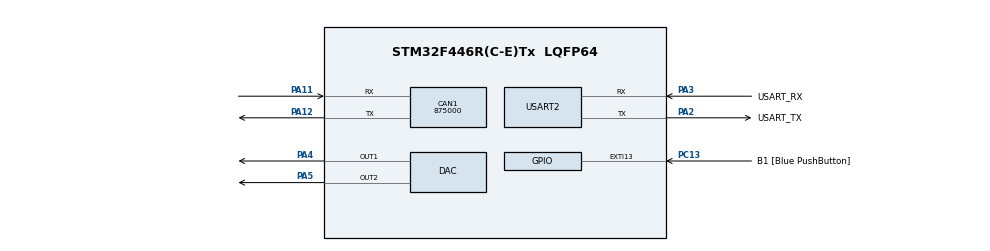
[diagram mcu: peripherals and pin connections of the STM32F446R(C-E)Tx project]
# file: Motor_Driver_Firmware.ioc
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CAN1.CalculateBaudRate=875000
CAN1.CalculateTimeBit=1142
CAN1.CalculateTimeQuantum=380.95238095238096
Mcu.Family=STM32F4
Mcu.Name=STM32F446R(C-E)Tx
Mcu.Package=LQFP64
NVIC.PriorityGroup=NVIC_PRIORITYGROUP_0
PA11.Mode=CAN_Activate
PA11.Signal=CAN1_RX
PA12.Mode=CAN_Activate
PA12.Signal=CAN1_TX
PA13.GPIO_Label=TMS
PA13.Mode=Serial_Wire
PA13.Signal=SYS_JTMS-SWDIO
PA14.GPIO_Label=TCK
PA14.Mode=Serial_Wire
PA14.Signal=SYS_JTCK-SWCLK
PA2.GPIO_Label=USART_TX
PA2.Mode=Asynchronous
PA2.Signal=USART2_TX
PA3.GPIO_Label=USART_RX
PA3.Mode=Asynchronous
PA3.Signal=USART2_RX
PA4.Signal=COMP_DAC1_group
PA5.Signal=COMP_DAC2_group
PB3.GPIO_Label=SWO
PB3.Signal=SYS_JTDO-SWO
PC13.GPIO_Label=B1 [Blue PushButton]
PC13.GPIO_ModeDefaultEXTI=GPIO_MODE_IT_FALLING
PC13.Signal=GPXTI13
PC14-OSC32_IN.Mode=LSE-External-Oscillator
PC14-OSC32_IN.Signal=RCC_OSC32_IN
PC15-OSC32_OUT.Mode=LSE-External-Oscillator
PC15-OSC32_OUT.Signal=RCC_OSC32_OUT
PH0-OSC_IN.Mode=HSE-External-Oscillator
PH0-OSC_IN.Signal=RCC_OSC_IN
PH1-OSC_OUT.Mode=HSE-External-Oscillator
PH1-OSC_OUT.Signal=RCC_OSC_OUT
ProjectManager.HeapSize=0x200
ProjectManager.StackSize=0x400
ProjectManager.TargetToolchain=STM32CubeIDE
RCC.48MHZClocksFreq_Value=84000000
RCC.AHBFreq_Value=84000000
RCC.APB1CLKDivider=RCC_HCLK_DIV2
RCC.APB1Freq_Value=42000000
RCC.APB1TimFreq_Value=84000000
RCC.APB2Freq_Value=84000000
RCC.APB2TimFreq_Value=84000000
RCC.CortexFreq_Value=84000000
RCC.FLatency-AdvancedSettings=FLASH_LATENCY_2
RCC.HCLKFreq_Value=84000000
RCC.HSE_VALUE=8000000
RCC.HSI_VALUE=16000000
RCC.PLLN=336
RCC.PLLP=RCC_PLLP_DIV4
RCC.SYSCLKFreq_VALUE=84000000
RCC.SYSCLKSource=RCC_SYSCLKSOURCE_PLLCLK
RCC.USBFreq_Value=168000000
RCC.VCOOutputFreq_Value=336000000
SH.COMP_DAC1_group.0=DAC_OUT1,DAC_OUT1
SH.COMP_DAC2_group.0=DAC_OUT2,DAC_OUT2
USART2.VirtualMode=VM_ASYNC
VP_TIM6_VS_ClockSourceINT.Mode=Enable_Timer
board=NUCLEO-F446RE

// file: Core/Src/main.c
/* USER CODE BEGIN Header */
/**
  ******************************************************************************
  * @file           : main.c
  * @brief          : Main program body
  * @author			: Jaspreet Chhabra
  ******************************************************************************
  * @attention
  *
  * Copyright (c) 2025 STMicroelectronics.
  * All rights reserved.
  *
  * This software is licensed under terms that can be found in the LICENSE file
  * in the root directory of this software component.
  * If no LICENSE file comes with this software, it is provided AS-IS.
  *
  ******************************************************************************
  */
/* USER CODE END Header */
#include "main.h"

/* USER CODE BEGIN Includes */
#include <string.h>
#include <stdio.h>
/* USER CODE END Includes */

/* USER CODE BEGIN PD */
#define DAC_MAX 4095
#define REVERSE_PIN GPIO_PIN_5
#define REVERSE_PORT GPIOA
/* USER CODE END PD */

CAN_HandleTypeDef hcan1;

DAC_HandleTypeDef hdac;

TIM_HandleTypeDef htim6;

UART_HandleTypeDef huart2;

void SystemClock_Config_HSE(uint8_t clock_freq);
static void MX_GPIO_Init(void);
static void MX_USART2_UART_Init(void);
static void MX_CAN1_Init(void);
static void MX_DAC_Init(void);
static void MX_TIM6_Init(void);
/* USER CODE BEGIN PFP */
void CAN1_Tx();
void CAN1_Rx(void);
void CAN_Filter_Config(void);
/* USER CODE END PFP */

/* USER CODE BEGIN 0 */
uint32_t motor_speed = 0;
CAN_RxHeaderTypeDef RxHeader;
volatile uint8_t crawl_mode = 0;  // 0 = off, 1 = on

/* USER CODE END 0 */

int main(void)
{

  /* MCU Configuration--------------------------------------------------------*/

  /* Reset of all peripherals, Initializes the Flash interface and the Systick. */
  HAL_Init();

  /* Configure the system clock */
  SystemClock_Config_HSE(50);

  /* Initialize all configured peripherals */
  MX_GPIO_Init();
  MX_USART2_UART_Init();
  MX_CAN1_Init();
  MX_DAC_Init();
  MX_TIM6_Init();
  /* USER CODE BEGIN 2 */
  CAN_Filter_Config();
  // Reverse PIN
  HAL_GPIO_WritePin(GPIOA, GPIO_PIN_5, GPIO_PIN_SET);  // Forward by default
  CAN1_Tx();
  // TEST DAC
//  HAL_DAC_Start(&hdac, DAC_CHANNEL_1);
//
//   uint16_t dac_values[] = {
//     0,                       // 0%
//     4095 * 0.10,             // 10%
//     4095 * 0.30,             // 30%
//     4095 * 0.50,             // 50%
//     4095 * 0.70,             // 70%
//     4095                    // 100%
//   };
//
//   for (int i = 0; i < sizeof(dac_values)/sizeof(dac_values[0]); i++) {
//     HAL_DAC_SetValue(&hdac, DAC_CHANNEL_1, DAC_ALIGN_12B_R, dac_values[i]);
//     HAL_Delay(3000); // wait 3 seconds
//   }

  	if(HAL_CAN_ActivateNotification(&hcan1,CAN_IT_TX_MAILBOX_EMPTY|CAN_IT_RX_FIFO0_MSG_PENDING|CAN_IT_BUSOFF)!= HAL_OK)
		{
		Error_Handler();
		}

	if( HAL_CAN_Start(&hcan1) != HAL_OK)
		{
		Error_Handler();
		}
	// Start the TIMER interrupt
	HAL_TIM_Base_Start_IT(&htim6);

  /* USER CODE END 2 */

  /* Infinite loop */
  while (1)
  {

	  if (crawl_mode)
	  {
		  HAL_GPIO_WritePin(GPIOA, GPIO_PIN_5, GPIO_PIN_SET);  // Forward
		  HAL_Delay(3000);

		  HAL_GPIO_WritePin(GPIOA, GPIO_PIN_5, GPIO_PIN_RESET);  // Reverse
		  HAL_Delay(3000);
	  }

	  // Always check CAN messages
//	  HAL_CAN_Polling_IRQHandler(&hcan1); // or HAL_CAN_IRQHandler if using interrupts
//	  HAL_CAN_IRQHandler(&hcan1);
  }
}

void SystemClock_Config_HSE(uint8_t clock_freq)
{
  RCC_OscInitTypeDef Osc_Init;
  RCC_ClkInitTypeDef Clock_Init;
  uint8_t flash_latency=0;

  Osc_Init.OscillatorType = RCC_OSCILLATORTYPE_HSE ;
  Osc_Init.HSEState = RCC_HSE_ON;
  Osc_Init.PLL.PLLState = RCC_PLL_ON;
  Osc_Init.PLL.PLLSource = RCC_PLLSOURCE_HSE;

  switch(clock_freq) {
  case SYS_CLOCK_FREQ_50_MHZ:
    Osc_Init.PLL.PLLM = 4;
    Osc_Init.PLL.PLLN = 50;
    Osc_Init.PLL.PLLP = RCC_PLLP_DIV2;
    Osc_Init.PLL.PLLQ = 2;
    Osc_Init.PLL.PLLR = 2;
    Clock_Init.ClockType = RCC_CLOCKTYPE_HCLK  | RCC_CLOCKTYPE_SYSCLK |
                           RCC_CLOCKTYPE_PCLK1 | RCC_CLOCKTYPE_PCLK2;
    Clock_Init.SYSCLKSource = RCC_SYSCLKSOURCE_PLLCLK;
    Clock_Init.AHBCLKDivider = RCC_SYSCLK_DIV1;
    Clock_Init.APB1CLKDivider = RCC_HCLK_DIV2;
    Clock_Init.APB2CLKDivider = RCC_HCLK_DIV1;
    flash_latency = 1;
    break;

  case SYS_CLOCK_FREQ_84_MHZ:
    Osc_Init.PLL.PLLM = 4;
    Osc_Init.PLL.PLLN = 84;
    Osc_Init.PLL.PLLP = RCC_PLLP_DIV2;
    Osc_Init.PLL.PLLQ = 2;
    Osc_Init.PLL.PLLR = 2;
    Clock_Init.ClockType = RCC_CLOCKTYPE_HCLK  | RCC_CLOCKTYPE_SYSCLK |
                           RCC_CLOCKTYPE_PCLK1 | RCC_CLOCKTYPE_PCLK2;
    Clock_Init.SYSCLKSource = RCC_SYSCLKSOURCE_PLLCLK;
    Clock_Init.AHBCLKDivider = RCC_SYSCLK_DIV1;
    Clock_Init.APB1CLKDivider = RCC_HCLK_DIV2;
    Clock_Init.APB2CLKDivider = RCC_HCLK_DIV1;
    flash_latency = 2;
    break;

  case SYS_CLOCK_FREQ_120_MHZ:
    Osc_Init.PLL.PLLM = 4;
    Osc_Init.PLL.PLLN = 120;
    Osc_Init.PLL.PLLP = RCC_PLLP_DIV2;
    Osc_Init.PLL.PLLQ = 2;
    Osc_Init.PLL.PLLR = 2;
    Clock_Init.ClockType = RCC_CLOCKTYPE_HCLK  | RCC_CLOCKTYPE_SYSCLK |
                           RCC_CLOCKTYPE_PCLK1 | RCC_CLOCKTYPE_PCLK2;
    Clock_Init.SYSCLKSource = RCC_SYSCLKSOURCE_PLLCLK;
    Clock_Init.AHBCLKDivider = RCC_SYSCLK_DIV1;
    Clock_Init.APB1CLKDivider = RCC_HCLK_DIV4;
    Clock_Init.APB2CLKDivider = RCC_HCLK_DIV2;
    flash_latency = 3;
    break;

  default:
    return ;
  }

  if (HAL_RCC_OscConfig(&Osc_Init) != HAL_OK)
  {
    Error_Handler();
  }

  if (HAL_RCC_ClockConfig(&Clock_Init, flash_latency) != HAL_OK)
  {
    Error_Handler();
  }

  /*Configure the systick timer interrupt frequency (for every 1 ms) */
  uint32_t hclk_freq = HAL_RCC_GetHCLKFreq();
  HAL_SYSTICK_Config(hclk_freq/1000);

  /**Configure the Systick
  */
  HAL_SYSTICK_CLKSourceConfig(SYSTICK_CLKSOURCE_HCLK);

  /* SysTick_IRQn interrupt configuration */
  HAL_NVIC_SetPriority(SysTick_IRQn, 0, 0);
}

static void MX_CAN1_Init(void)
{

  hcan1.Instance = CAN1;
//  hcan1.Init.Prescaler = 16;
  hcan1.Init.Mode = CAN_MODE_NORMAL;
//  hcan1.Init.SyncJumpWidth = CAN_SJW_1TQ;
//  hcan1.Init.TimeSeg1 = CAN_BS1_1TQ;
//  hcan1.Init.TimeSeg2 = CAN_BS2_1TQ;

  hcan1.Init.Prescaler = 10;
  hcan1.Init.SyncJumpWidth = CAN_SJW_1TQ;
  hcan1.Init.TimeSeg1 = CAN_BS1_8TQ;
  hcan1.Init.TimeSeg2 = CAN_BS2_1TQ;

  hcan1.Init.TimeTriggeredMode = DISABLE;
  hcan1.Init.AutoBusOff = ENABLE;
  hcan1.Init.AutoWakeUp = DISABLE;
  hcan1.Init.AutoRetransmission = ENABLE;
  hcan1.Init.ReceiveFifoLocked = DISABLE;
  hcan1.Init.TransmitFifoPriority = DISABLE;
  if (HAL_CAN_Init(&hcan1) != HAL_OK)
  {
    Error_Handler();
  }

}

static void MX_DAC_Init(void)
{

  DAC_ChannelConfTypeDef sConfig = {0};

  /** DAC Initialization
  */
  hdac.Instance = DAC;
  if (HAL_DAC_Init(&hdac) != HAL_OK)
  {
    Error_Handler();
  }

  /** DAC channel OUT1 config
  */
  sConfig.DAC_Trigger = DAC_TRIGGER_NONE;
  sConfig.DAC_OutputBuffer = DAC_OUTPUTBUFFER_ENABLE;
  if (HAL_DAC_ConfigChannel(&hdac, &sConfig, DAC_CHANNEL_1) != HAL_OK)
  {
    Error_Handler();
  }

  /** DAC channel OUT2 config
  */
  if (HAL_DAC_ConfigChannel(&hdac, &sConfig, DAC_CHANNEL_2) != HAL_OK)
  {
    Error_Handler();
  }

}

static void MX_TIM6_Init(void)
{

  TIM_MasterConfigTypeDef sMasterConfig = {0};

  htim6.Instance = TIM6;
//  htim6.Init.Prescaler = 0;
  htim6.Init.CounterMode = TIM_COUNTERMODE_UP;
//  htim6.Init.Period = 65535;
  htim6.Init.Prescaler = 49999;  // Divides 50MHz to 1kHz
  htim6.Init.Period = 4999;      // 1kHz → 5s interrupt

  htim6.Init.AutoReloadPreload = TIM_AUTORELOAD_PRELOAD_DISABLE;
  if (HAL_TIM_Base_Init(&htim6) != HAL_OK)
  {
    Error_Handler();
  }
  sMasterConfig.MasterOutputTrigger = TIM_TRGO_RESET;
  sMasterConfig.MasterSlaveMode = TIM_MASTERSLAVEMODE_DISABLE;
  if (HAL_TIMEx_MasterConfigSynchronization(&htim6, &sMasterConfig) != HAL_OK)
  {
    Error_Handler();
  }

}

static void MX_USART2_UART_Init(void)
{

  huart2.Instance = USART2;
  huart2.Init.BaudRate = 115200;
  huart2.Init.WordLength = UART_WORDLENGTH_8B;
  huart2.Init.StopBits = UART_STOPBITS_1;
  huart2.Init.Parity = UART_PARITY_NONE;
  huart2.Init.Mode = UART_MODE_TX_RX;
  huart2.Init.HwFlowCtl = UART_HWCONTROL_NONE;
  huart2.Init.OverSampling = UART_OVERSAMPLING_16;
  if (HAL_UART_Init(&huart2) != HAL_OK)
  {
    Error_Handler();
  }

}

static void MX_GPIO_Init(void)
{
  GPIO_InitTypeDef GPIO_InitStruct = {0};

  /* GPIO Ports Clock Enable */
  __HAL_RCC_GPIOC_CLK_ENABLE();
  __HAL_RCC_GPIOH_CLK_ENABLE();
  __HAL_RCC_GPIOA_CLK_ENABLE();
  __HAL_RCC_GPIOB_CLK_ENABLE();

  /*Configure GPIO pin : B1_Pin */
  GPIO_InitStruct.Pin = B1_Pin;
  GPIO_InitStruct.Mode = GPIO_MODE_IT_FALLING;
  GPIO_InitStruct.Pull = GPIO_NOPULL;
  HAL_GPIO_Init(B1_GPIO_Port, &GPIO_InitStruct);

  /* USER CODE BEGIN MX_GPIO_Init_2 */
  GPIO_InitStruct.Pin = GPIO_PIN_5;
	GPIO_InitStruct.Mode = GPIO_MODE_OUTPUT_PP;     // Push-pull output
	GPIO_InitStruct.Pull = GPIO_NOPULL;
	GPIO_InitStruct.Speed = GPIO_SPEED_FREQ_LOW;
	HAL_GPIO_Init(GPIOA, &GPIO_InitStruct);

	/* Set default state: HIGH = Forward direction */
	HAL_GPIO_WritePin(GPIOA, GPIO_PIN_5, GPIO_PIN_SET);
  /* USER CODE END MX_GPIO_Init_2 */
}

/* USER CODE BEGIN 4 */
/**
  * @brief  Transmit a message via CAN1.
  * @retval None
  */
void CAN1_Tx()
{
  CAN_TxHeaderTypeDef TxHeader;
  uint32_t TxMailbox;
  uint8_t message[2];  // Two-byte message

  TxHeader.DLC = 2;  // Data length = 2 bytes
  TxHeader.StdId = 0x399;
  TxHeader.IDE   = CAN_ID_STD;
  TxHeader.RTR   = CAN_RTR_DATA;

  message[0] = crawl_mode ? 1 : 0;
  message[1] = (motor_speed == -1) ? 255 : (uint8_t)motor_speed;

  char dbg[64];
  sprintf(dbg, "Tx: crawl=%d, speed=%d\r\n", message[0], message[1]);
  HAL_UART_Transmit(&huart2, (uint8_t*)dbg, strlen(dbg), HAL_MAX_DELAY);

  if (HAL_CAN_AddTxMessage(&hcan1, &TxHeader, message, &TxMailbox) != HAL_OK)
  {
    Error_Handler();
  }
}

/**
  * @brief  Configures the CAN filter.
  * @retval None
  */
void CAN_Filter_Config(void)
{
  CAN_FilterTypeDef can1_filter_init;

  can1_filter_init.FilterActivation = ENABLE;
  can1_filter_init.FilterBank  = 0;
  can1_filter_init.FilterFIFOAssignment = CAN_RX_FIFO0;
  // CANid total bits 11
  // xxx xxxx xxxx
  // 100 xxxx xxxx
  // Accept only 4XX
  // id 1000 = 0x8
  // mask 1110 = 0xE
  can1_filter_init.FilterIdHigh = 0x0000;
  can1_filter_init.FilterIdLow = 0x0000;
  can1_filter_init.FilterMaskIdHigh = 0X0000;
  can1_filter_init.FilterMaskIdLow = 0x0000;
  can1_filter_init.FilterMode = CAN_FILTERMODE_IDMASK;
  can1_filter_init.FilterScale = CAN_FILTERSCALE_32BIT;

  if( HAL_CAN_ConfigFilter(&hcan1,&can1_filter_init) != HAL_OK)
  {
    Error_Handler();
  }
}

/**
  * @brief  Transmission Mailbox 0 complete callback.
  * @param  hcan pointer to a CAN_HandleTypeDef structure that contains
  *         the configuration information for the specified CAN.
  * @retval None
  */
void HAL_CAN_TxMailbox0CompleteCallback(CAN_HandleTypeDef *hcan)
{
  char msg[50];
  sprintf(msg,"Message Transmitted:M0\r\n");
  HAL_UART_Transmit(&huart2,(uint8_t*)msg,strlen(msg),HAL_MAX_DELAY);
}

/**
  * @brief  Transmission Mailbox 0 complete callback.
  * @param  hcan pointer to a CAN_HandleTypeDef structure that contains
  *         the configuration information for the specified CAN.
  * @retval None
  */
void HAL_CAN_TxMailbox1CompleteCallback(CAN_HandleTypeDef *hcan)
{
  char msg[50];
  sprintf(msg,"Message Transmitted:M1\r\n");
  HAL_UART_Transmit(&huart2,(uint8_t*)msg,strlen(msg),HAL_MAX_DELAY);
}

/**
  * @brief  Transmission Mailbox 2 complete callback.
  * @param  hcan pointer to a CAN_HandleTypeDef structure that contains
  *         the configuration information for the specified CAN.
  * @retval None
  */
void HAL_CAN_TxMailbox2CompleteCallback(CAN_HandleTypeDef *hcan)
{
  char msg[50];
  sprintf(msg,"Message Transmitted:M2\r\n");
  HAL_UART_Transmit(&huart2,(uint8_t*)msg,strlen(msg),HAL_MAX_DELAY);
}

/**
  * @brief  Rx FIFO 0 message pending callback.
  * @param  hcan pointer to a CAN_HandleTypeDef structure that contains
  *         the configuration information for the specified CAN.
  * @retval None
  */
void HAL_CAN_RxFifo0MsgPendingCallback(CAN_HandleTypeDef *hcan)
{
	uint8_t rcvd_msg[8];
	char dbg_rx[64];
	sprintf(dbg_rx, "Rx: ID=0x%03lX, Data[0]=%d\r\n", RxHeader.StdId, rcvd_msg[0]);
	HAL_UART_Transmit(&huart2, (uint8_t*)dbg_rx, strlen(dbg_rx), HAL_MAX_DELAY);

    if (HAL_CAN_GetRxMessage(hcan, CAN_RX_FIFO0, &RxHeader, rcvd_msg) != HAL_OK)
    {
        Error_Handler();
    }

    if (RxHeader.StdId >= 0x301 && RxHeader.StdId <= 0x306)
    {
        crawl_mode = 0;
    }

    if (RxHeader.StdId == 0x301 && RxHeader.RTR == 0)
    {   // STOP
        HAL_GPIO_WritePin(REVERSE_PORT, REVERSE_PIN, GPIO_PIN_SET); // ensure forward
        HAL_DAC_SetValue(&hdac, DAC_CHANNEL_1, DAC_ALIGN_12B_R, 0);
        HAL_DAC_Start(&hdac, DAC_CHANNEL_1);
        motor_speed = 0;
    }
    else if (RxHeader.StdId == 0x302 && RxHeader.RTR == 0)
    {   // 10%
        HAL_GPIO_WritePin(REVERSE_PORT, REVERSE_PIN, GPIO_PIN_SET); // ensure forward
        HAL_DAC_SetValue(&hdac, DAC_CHANNEL_1, DAC_ALIGN_12B_R, 0.10 * DAC_MAX);
        HAL_DAC_Start(&hdac, DAC_CHANNEL_1);
        motor_speed = 10;
    }
    else if (RxHeader.StdId == 0x303 && RxHeader.RTR == 0)
    {   // 30%
        HAL_GPIO_WritePin(REVERSE_PORT, REVERSE_PIN, GPIO_PIN_SET); // ensure forward
        HAL_DAC_SetValue(&hdac, DAC_CHANNEL_1, DAC_ALIGN_12B_R, 0.30 * DAC_MAX);
        HAL_DAC_Start(&hdac, DAC_CHANNEL_1);
        motor_speed = 30;
    }
    else if (RxHeader.StdId == 0x304 && RxHeader.RTR == 0)
    {   // 50%
        HAL_GPIO_WritePin(REVERSE_PORT, REVERSE_PIN, GPIO_PIN_SET); // ensure forward
        HAL_DAC_SetValue(&hdac, DAC_CHANNEL_1, DAC_ALIGN_12B_R, 0.50 * DAC_MAX);
        HAL_DAC_Start(&hdac, DAC_CHANNEL_1);
        motor_speed = 50;
    }
    else if (RxHeader.StdId == 0x305 && RxHeader.RTR == 0)
    {   // 70%
        HAL_GPIO_WritePin(REVERSE_PORT, REVERSE_PIN, GPIO_PIN_SET); // ensure forward
        HAL_DAC_SetValue(&hdac, DAC_CHANNEL_1, DAC_ALIGN_12B_R, 0.70 * DAC_MAX);
        HAL_DAC_Start(&hdac, DAC_CHANNEL_1);
        motor_speed = 70;
    }
    else if (RxHeader.StdId == 0x306 && RxHeader.RTR == 0)
    {   // 100%
        HAL_GPIO_WritePin(REVERSE_PORT, REVERSE_PIN, GPIO_PIN_SET); // ensure forward
        HAL_DAC_SetValue(&hdac, DAC_CHANNEL_1, DAC_ALIGN_12B_R, DAC_MAX);
        HAL_DAC_Start(&hdac, DAC_CHANNEL_1);
        motor_speed = 100;
    }
    else if (RxHeader.StdId == 0x3FF && RxHeader.RTR == 0)
    {   // Reverse ON
        HAL_GPIO_WritePin(REVERSE_PORT, REVERSE_PIN, GPIO_PIN_RESET); // LOW = reverse
        motor_speed = -1;
    }
//		Redundant
//    else if (RxHeader.StdId == 0x321 && RxHeader.RTR == 0)
//    {   // Reverse OFF
//        HAL_GPIO_WritePin(REVERSE_PORT, REVERSE_PIN, GPIO_PIN_SET); // HIGH = forward
//    }
    else if (RxHeader.StdId == 0x310 && RxHeader.RTR == 0)
    {   // Enable crawl
        crawl_mode = 1;
        motor_speed = 20;  // example crawl speed
        HAL_DAC_SetValue(&hdac, DAC_CHANNEL_1, DAC_ALIGN_12B_R, 0.20 * DAC_MAX);
        HAL_DAC_Start(&hdac, DAC_CHANNEL_1);
    }
//    else if (RxHeader.StdId >= 0x301 && RxHeader.StdId <= 0x306)
//    {
//        crawl_mode = 0;  // exit crawl if another speed is commanded
//    }
}

/**
  * @brief  Period elapsed callback in non-blocking mode
  * This is called whenever the timer interrupt is raised
  * We will send the heartbeat signal from this function
  * @param  htim TIM handle
  * @retval None
  */
void HAL_TIM_PeriodElapsedCallback(TIM_HandleTypeDef *htim)
{ // broadcasts heartbeat signal
  CAN1_Tx();
}
/* USER CODE END 4 */

void Error_Handler(void)
{
  __disable_irq();
  while (1)
  {
  }
}
